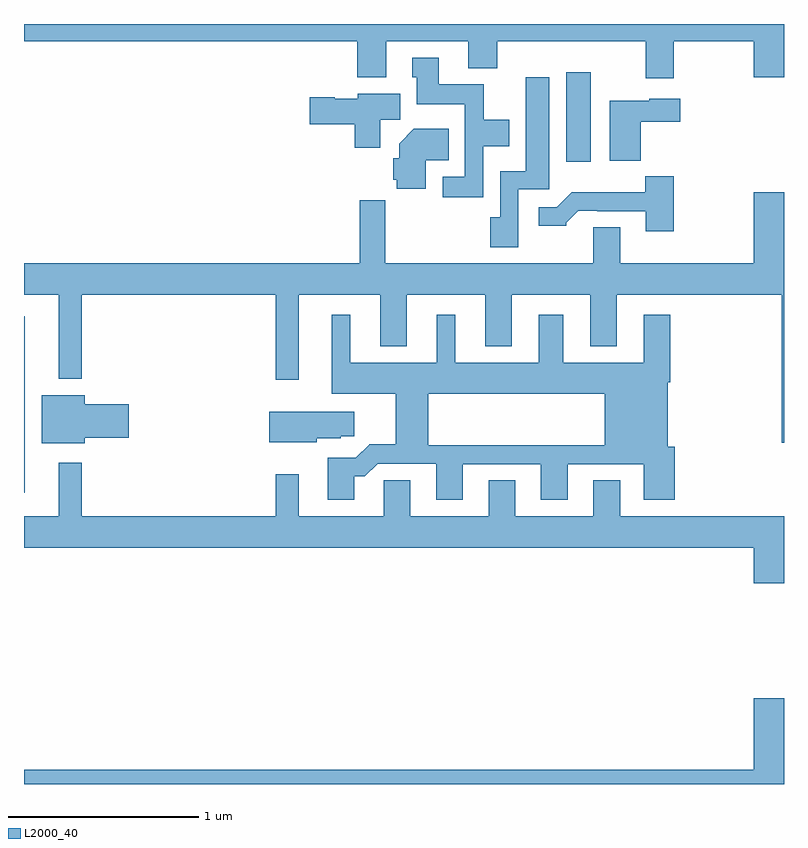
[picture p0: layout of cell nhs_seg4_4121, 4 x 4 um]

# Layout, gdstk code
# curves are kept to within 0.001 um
import gdstk
lib = gdstk.Library(unit=1e-6, precision=1e-09)
def R(c, l, rs):  # rectangles x0, y0, x1, y1
    for r in rs: c.add(gdstk.rectangle(r[:2], r[2:], *l))
def P(c, l, *ps):  # polygons
    for p in ps: c.add(gdstk.Polygon(p, *l))
L2000_40 = (2000, 40)

nhs_seg4_4121 = lib.new_cell('nhs_seg4_4121')
R(nhs_seg4_4121, L2000_40, [(329,806.433,329.005,807.361), (331.853,808.176,331.984,808.645)])
P(nhs_seg4_4121, L2000_40, [(332.421,808.808),(332.84,808.808),(332.84,808.62),(333,808.62),(333,808.9),(329,808.9),(329,808.808),(330.755,808.808),(330.755,808.619),(330.907,808.619),(330.907,808.808),(331.337,808.808),(331.337,808.667),(331.49,808.667),(331.49,808.808),(332.273,808.808),(332.273,808.614),(332.421,808.614)],
  [(331.416,808.256),(331.555,808.256),(331.555,808.396),(331.419,808.396),(331.419,808.582),(331.183,808.582),(331.183,808.723),(331.043,808.723),(331.043,808.62),(331.067,808.62),(331.067,808.478),(331.32,808.478),(331.32,808.095),(331.203,808.095),(331.203,807.987),(331.416,807.987)],
  [(331.602,808.029),(331.765,808.029),(331.765,808.621),(331.64,808.621),(331.64,808.126),(331.506,808.126),(331.506,807.882),(331.454,807.882),(331.454,807.726),(331.602,807.726)],
  [(330.874,808.396),(330.979,808.396),(330.979,808.534),(330.756,808.534),(330.756,808.507),(330.636,808.507),(330.636,808.515),(330.504,808.515),(330.504,808.373),(330.74,808.373),(330.74,808.248),(330.874,808.248)],
  [(332.246,808.385),(332.455,808.385),(332.455,808.507),(332.292,808.507),(332.292,808.495),(332.084,808.495),(332.084,808.181),(332.246,808.181)],
  [(331.114,808.184),(331.235,808.184),(331.235,808.348),(331.052,808.348),(330.974,808.27),(330.974,808.194),(330.944,808.194),(330.944,808.08),(330.962,808.08),(330.962,808.034),(331.114,808.034)],
  [(332.421,808.099),(332.271,808.099),(332.271,808.015),(331.882,808.015),(331.803,807.936),(331.71,807.936),(331.71,807.839),(331.854,807.839),(331.854,807.854),(331.918,807.918),(332.017,807.918),(332.017,807.915),(332.273,807.915),(332.273,807.81),(332.421,807.81)],
  [(333,808.015),(332.84,808.015),(332.84,807.64),(332.137,807.64),(332.137,807.83),(331.997,807.83),(331.997,807.64),(330.902,807.64),(330.902,807.973),(330.766,807.973),(330.766,807.64),(329,807.64),(329,807.476),(329.183,807.476),(329.183,807.032),(329.305,807.032),(329.305,807.476),(330.324,807.476),(330.324,807.027),(330.445,807.027),(330.445,807.476),(330.875,807.476),(330.875,807.203),(331.015,807.203),(331.015,807.476),(331.427,807.476),(331.427,807.203),(331.567,807.203),(331.567,807.476),(331.979,807.476),(331.979,807.203),(332.119,807.203),(332.119,807.476),(332.987,807.476),(332.987,806.697),(333,806.697)],
  [(330.599,806.616),(330.599,806.397),(330.739,806.397),(330.739,806.519),(330.794,806.519),(330.861,806.586),(331.169,806.586),(331.169,806.397),(331.309,806.397),(331.309,806.583),(331.721,806.583),(331.721,806.397),(331.861,806.397),(331.861,806.583),(332.261,806.583),(332.261,806.397),(332.426,806.397),(332.426,806.676),(332.389,806.676),(332.389,807.014),(332.402,807.014),(332.402,807.37),(332.261,807.37),(332.261,807.118),(331.837,807.118),(331.837,807.37),(331.709,807.37),(331.709,807.118),(331.27,807.118),(331.27,807.37),(331.172,807.37),(331.172,807.118),(330.718,807.118),(330.718,807.37),(330.62,807.37),(330.62,806.954),(330.956,806.954),(330.956,806.687),(330.818,806.687),(330.815,806.684),(331.127,806.684),(331.127,806.954),(332.057,806.954),(332.057,806.684),(330.815,806.684),(330.747,806.616)],
  [(329.32,806.722),(329.551,806.722),(329.551,806.9),(329.32,806.9),(329.32,806.947),(329.093,806.947),(329.093,806.693),(329.32,806.693)],
  [(330.54,806.72),(330.666,806.72),(330.666,806.731),(330.739,806.731),(330.739,806.86),(330.29,806.86),(330.29,806.699),(330.54,806.699)],
  [(332.137,806.498),(331.997,806.498),(331.997,806.308),(331.585,806.308),(331.585,806.498),(331.445,806.498),(331.445,806.308),(331.033,806.308),(331.033,806.498),(330.894,806.498),(330.894,806.308),(330.445,806.308),(330.445,806.53),(330.324,806.53),(330.324,806.308),(329.305,806.308),(329.305,806.59),(329.183,806.59),(329.183,806.308),(329,806.308),(329,806.144),(332.84,806.144),(332.84,805.956),(333,805.956),(333,806.308),(332.137,806.308)],
  [(329,804.9),(333,804.9),(333,805.351),(332.84,805.351),(332.84,804.976),(329,804.976)])

lib.write_gds('nhs_seg4_4121.gds')
